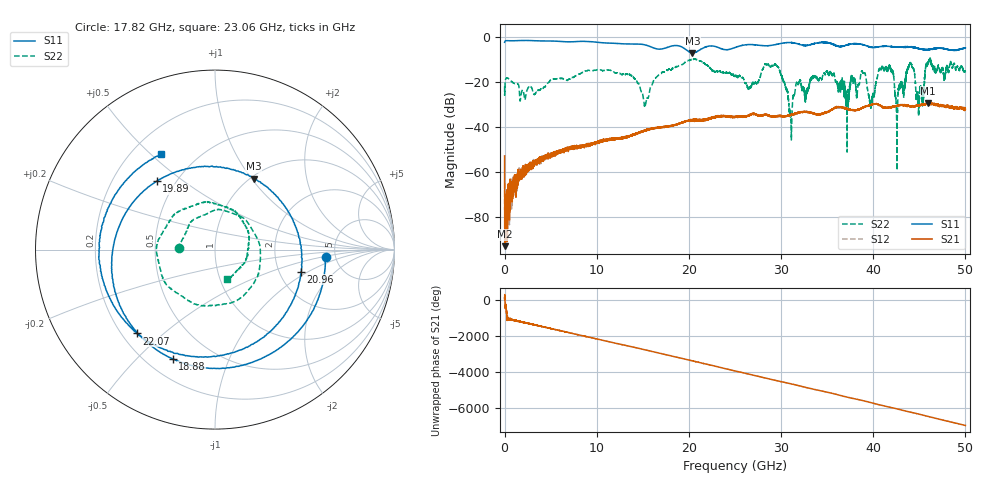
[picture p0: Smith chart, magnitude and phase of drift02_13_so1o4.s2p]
!Created with skrf (http://scikit-rf.org).
# Hz S RI R 50.0
!freq ReS11 ImS11 ReS21 ImS21 ReS12 ImS12 ReS22 ImS22
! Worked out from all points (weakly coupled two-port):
!   10001 points, 300 kHz to 50 GHz, reference 50 ohm
!   highest |S21| = -29.13 dB at 45.96 GHz (marker M1); lowest = -92.8 dB at 15.3 MHz (marker M2)
!   lowest |S11| = -6.9 dB at 20.38 GHz (marker M3), VSWR 2.64, Z = 51.5 + j51.2 ohm
!   |S11| at or under -10 dB: nowhere
!   |S22| runs from -59.1 to -9.2 dB; largest |S21 - S12| = 0.0029
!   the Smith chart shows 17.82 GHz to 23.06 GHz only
!   S11 on the Smith chart (normalised r, x): 17.82 GHz: 4.15, -0.54; 18.88 GHz: 0.30, -0.64; 19.89 GHz: 0.39, +0.40; 20.96 GHz: 2.64, -0.86; 22.07 GHz: 0.26, -0.41; 23.06 GHz: 0.32, +0.54
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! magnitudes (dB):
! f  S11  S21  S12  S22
! 300 kHz  -2.1  -52.7  -61.0  -21.8
! 15.3 MHz  -2.0  -92.8  -72.8  -24.7
! 8.335 GHz  -1.7  -48.0  -48.2  -15.8
! 15.31 GHz  -3.4  -41.2  -41.3  -29.5
! 16.67 GHz  -5.2  -40.0  -40.2  -16.9
! 17.82 GHz  -4.2  -39.6  -39.4  -14.0
! 18.88 GHz  -3.7  -38.4  -38.4  -12.6
! 19.89 GHz  -6.0  -37.1  -36.9  -10.2
! 20.38 GHz  -6.9  -36.9  -36.7  -9.9
! 20.96 GHz  -6.1  -36.8  -37.0  -9.7
! 22.07 GHz  -3.9  -36.0  -36.2  -12.6
! 23.06 GHz  -4.3  -35.4  -35.0  -15.1
! 25 GHz  -4.5  -35.4  -35.4  -17.3
! 29.5 GHz  -3.0  -34.9  -35.3  -12.5
! 31.03 GHz  -2.3  -34.3  -34.6  -36.1
! 33.34 GHz  -3.0  -33.5  -33.6  -18.1
! 38.92 GHz  -3.3  -31.0  -31.0  -16.0
! 39.78 GHz  -4.4  -29.9  -29.9  -31.4
! 41.67 GHz  -4.0  -31.2  -31.1  -13.2
! 42.56 GHz  -4.3  -30.4  -30.2  -45.6
! 45.96 GHz  -5.4  -29.1  -29.4  -11.3
! 50 GHz  -4.7  -31.9  -31.7  -15.5
